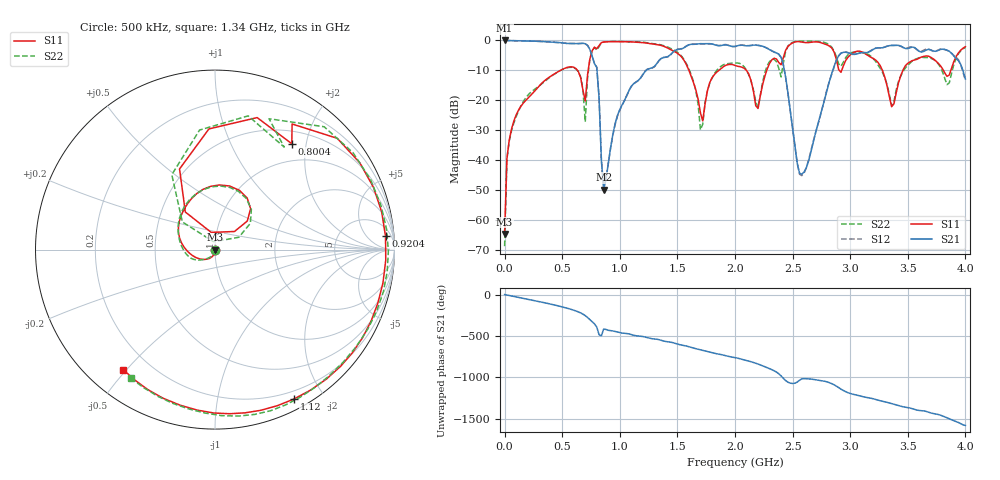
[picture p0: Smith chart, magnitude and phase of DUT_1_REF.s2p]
# Hz S DB R 50
! CMT, S5180, 51801906, 22.3.3/1
! Date: 09/01/2023 11:17:48
! Data: Format (Calibration Info)
! Freq	S11:dB/Ang(F2)	S21:dB/Ang(F2)	S12:dB/Ang(F2)	S22:dB/Ang(F2)
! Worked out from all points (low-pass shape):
!   201 points, 500 kHz to 4 GHz, reference 50 ohm
!   highest |S21| = 0.00 dB at 500 kHz (marker M1); lowest = -49.7 dB at 860.4 MHz (marker M2)
!   |S21| within 3 dB of the highest: start of sweep to 740.6 MHz; 1.5 GHz to 2.297 GHz (796.9 MHz wide, 42 % of centre)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
!   lowest |S11| = -64.5 dB at 500 kHz (marker M3), VSWR 1.00, Z = 50 - j0.0457 ohm
!   |S11| at or under -10 dB: start of sweep to 484.4 MHz; 1.601 GHz to 1.859 GHz (258.6 MHz wide, 14.9 % of centre); 2.1 GHz to 2.276 GHz (175.4 MHz wide, 8.02 % of centre)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
!   |S22| runs from -68.6 to -0.2 dB; largest |S21 - S12| = 0.038
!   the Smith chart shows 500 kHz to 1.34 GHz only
!   S11 on the Smith chart (normalised r, x): 500 kHz: 1.00, -0.00; 800.4 MHz: 0.69, +1.75; 920.4 MHz: 12, +19; 1.12 GHz: 0.11, -1.65; 1.34 GHz: 0.11, -0.49
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500000  -64.50 -50.1  -0.00 -0.1  -0.00 -0.1  -68.61 -37.4
2.04975e7  -39.44 -91.2  -0.02 -5.8  -0.02 -5.8  -39.52 -93.9
1.404825e8  -22.04 -136.2  -0.11 -39.1  -0.11 -39.1  -21.99 -137.3
4.0045e8  -11.93 141.9  -0.54 -115.5  -0.53 -115.5  -12.06 145.0
6.80415e8  -16.57 42.8  -0.95 123.3  -0.97 123.3  -16.49 27.4
7.004125e8  -20.18 102.3  -1.10 105.0  -1.10 105.0  -27.12 99.8
8.004e8  -2.75 54.0  -9.01 -33.0  -8.92 -32.6  -3.23 56.0
8.603925e8  -0.53 30.9  -49.72 -56.4  -49.50 -56.9  -0.54 35.0
9.20385e8  -0.42 4.4  -35.78 -75.8  -35.96 -76.2  -0.33 6.9
1.12036e9  -0.52 -62.2  -14.43 -131.4  -14.46 -132.8  -0.45 -60.0
1.340332e9  -1.49 -127.3  -6.71 174.9  -6.71 176.6  -1.34 -123.2
1.700288e9  -24.16 144.3  -1.09 52.3  -1.08 52.3  -29.82 149.9
2.00025e9  -8.34 -178.9  -1.97 -41.3  -2.06 -41.2  -7.49 177.6
2.200225e9  -22.68 -144.1  -1.62 -119.5  -1.66 -119.5  -22.39 -173.3
2.280215e9  -9.47 -143.3  -2.64 -163.7  -2.58 -162.9  -8.40 -142.4
2.420198e9  -5.64 -158.3  -8.16 67.7  -8.15 67.8  -7.45 -142.8
2.56018e9  -0.42 142.8  -44.25 45.3  -44.60 45.0  -0.22 148.9
2.680165e9  -0.50 107.5  -33.81 55.6  -33.53 52.7  -0.28 114.5
2.96013e9  -6.74 90.4  -3.93 -92.6  -3.81 -92.4  -5.79 85.3
3.340082e9  -18.76 6.1  -1.73 130.5  -1.69 130.5  -18.06 -2.8
3.68004e9  -5.26 19.0  -2.97 19.2  -2.85 16.7  -5.74 22.3
4e9  -2.05 7.5  -12.86 -140.9  -13.32 -139.0  -2.36 16.9
